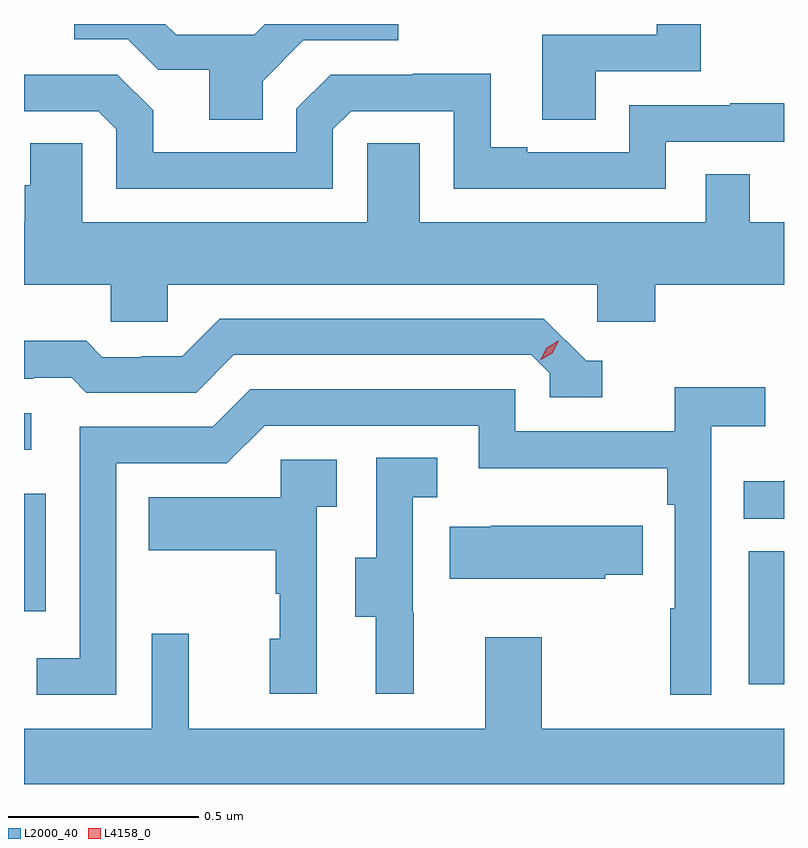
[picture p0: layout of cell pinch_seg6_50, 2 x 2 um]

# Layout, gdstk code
import gdstk
lib = gdstk.Library(unit=1e-6, precision=1e-09)
def R(c, l, rs):  # rectangles x0, y0, x1, y1
    for r in rs: c.add(gdstk.rectangle(r[:2], r[2:], *l))
def P(c, l, *ps):  # polygons
    for p in ps: c.add(gdstk.Polygon(p, *l))
L2000_40 = (2000, 40)
L4158_0 = (4158, 0)

pinch_seg6_50 = lib.new_cell('pinch_seg6_50')
R(pinch_seg6_50, L2000_40, [(991.184,936.96,991.277,937.311), (989.277,937.152,989.334,937.462), (989.277,937.578,989.296,937.674)])
P(pinch_seg6_50, L2000_40, [(990.781,938.574),(991.058,938.574),(991.058,938.698),(990.942,938.698),(990.942,938.67),(990.641,938.67),(990.641,938.446),(990.781,938.446)],
  [(989.905,938.548),(990.012,938.655),(990.262,938.655),(990.262,938.698),(989.911,938.698),(989.883,938.67),(989.677,938.67),(989.649,938.698),(989.409,938.698),(989.409,938.658),(989.55,938.658),(989.63,938.578),(989.765,938.578),(989.765,938.446),(989.905,938.446)],
  [(990.09,938.421),(990.138,938.469),(990.408,938.469),(990.408,938.265),(990.966,938.265),(990.966,938.388),(991.277,938.388),(991.277,938.489),(991.135,938.489),(991.135,938.484),(990.87,938.484),(990.87,938.361),(990.601,938.361),(990.601,938.374),(990.505,938.374),(990.505,938.567),(990.3,938.567),(990.3,938.565),(990.084,938.565),(989.994,938.475),(989.994,938.361),(989.617,938.361),(989.617,938.471),(989.523,938.565),(989.277,938.565),(989.277,938.469),(989.472,938.469),(989.52,938.421),(989.52,938.265),(990.09,938.265)],
  [(989.655,938.012),(990.786,938.012),(990.786,937.914),(990.938,937.914),(990.938,938.012),(991.277,938.012),(991.277,938.176),(991.187,938.176),(991.187,938.303),(991.071,938.303),(991.071,938.176),(990.319,938.176),(990.319,938.384),(990.18,938.384),(990.18,938.176),(989.43,938.176),(989.43,938.384),(989.293,938.384),(989.293,938.274),(989.279,938.274),(989.279,938.176),(989.277,938.176),(989.277,938.012),(989.505,938.012),(989.505,937.914),(989.655,937.914)],
  [(990.799,937.812),(990.756,937.812),(990.645,937.923),(989.792,937.923),(989.693,937.824),(989.586,937.824),(989.586,937.821),(989.483,937.821),(989.441,937.864),(989.277,937.864),(989.277,937.764),(989.303,937.764),(989.303,937.767),(989.402,937.767),(989.441,937.728),(989.73,937.728),(989.829,937.827),(990.612,937.827),(990.66,937.779),(990.66,937.716),(990.799,937.716)],
  [(989.52,937.542),(989.811,937.542),(989.91,937.641),(990.474,937.641),(990.474,937.529),(990.97,937.529),(990.97,937.433),(990.99,937.433),(990.99,937.16),(990.978,937.16),(990.978,936.933),(991.086,936.933),(991.086,937.64),(991.228,937.64),(991.228,937.742),(990.989,937.742),(990.989,937.626),(990.57,937.626),(990.57,937.737),(989.873,937.737),(989.774,937.638),(989.424,937.638),(989.424,937.029),(989.311,937.029),(989.311,936.933),(989.52,936.933)],
  [(990.302,937.149),(990.3,937.149),(990.3,937.453),(990.364,937.453),(990.364,937.556),(990.204,937.556),(990.204,937.293),(990.149,937.293),(990.149,937.138),(990.203,937.138),(990.203,936.936),(990.302,936.936)],
  [(990.048,937.427),(990.1,937.427),(990.1,937.551),(989.952,937.551),(989.952,937.453),(989.605,937.453),(989.605,937.313),(989.94,937.313),(989.94,937.199),(989.95,937.199),(989.95,937.08),(989.924,937.08),(989.924,936.936),(990.048,936.936)],
  [(991.277,937.497),(991.275,937.495),(991.171,937.495),(991.171,937.396),(991.277,937.396)],
  [(990.807,937.249),(990.905,937.249),(990.905,937.378),(990.505,937.378),(990.505,937.375),(990.397,937.375),(990.397,937.238),(990.807,937.238)],
  [(990.491,937.084),(990.491,936.844),(989.711,936.844),(989.711,937.093),(989.613,937.093),(989.613,936.844),(989.277,936.844),(989.277,936.698),(991.277,936.698),(991.277,936.844),(990.639,936.844),(990.639,937.084)])
P(pinch_seg6_50, L4158_0, [(990.636,937.813),(990.636,937.813),(990.652,937.846),(990.683,937.865),(990.684,937.865),(990.684,937.865),(990.667,937.832),(990.636,937.813)])

lib.write_gds('pinch_seg6_50.gds')
